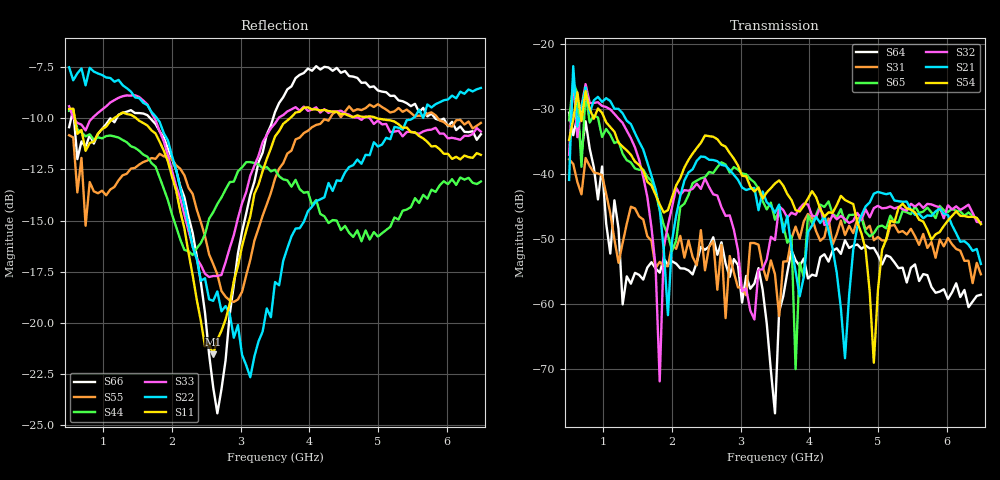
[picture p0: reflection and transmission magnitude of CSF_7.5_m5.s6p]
!Keysight Technologies,M9804A,MY58100912,A.14.10.03
!Date: Thursday, April 27, 2023 10:28:33
!Correction: S11(C  6-Port  )
!S12(C  6-Port  )
!S13(C  6-Port  )
!S14(C  6-Port  )
!S15(C  6-Port  )
!S16(C  6-Port  )
!S21(C  6-Port  )
!S22(C  6-Port  )
!S23(C  6-Port  )
!S24(C  6-Port  )
!S25(C  6-Port  )
!S26(C  6-Port  )
!S31(C  6-Port  )
!S32(C  6-Port  )
!S33(C  6-Port  )
!S34(C  6-Port  )
!S35(C  6-Port  )
!S36(C  6-Port  )
!S41(C  6-Port  )
!S42(C  6-Port  )
!S43(C  6-Port  )
!S44(C  6-Port  )
!S45(C  6-Port  )
!S46(C  6-Port  )
!S51(C  6-Port  )
!S52(C  6-Port  )
!S53(C  6-Port  )
!S54(C  6-Port  )
!S55(C  6-Port  )
!S56(C  6-Port  )
!S61(C  6-Port  )
!S62(C  6-Port  )
!S63(C  6-Port  )
!S64(C  6-Port  )
!S65(C  6-Port  )
!S66(C  6-Port  )
!S6P File: Measurement: :
# Hz S  RI  R 50
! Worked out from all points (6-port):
!   101 points, 500 MHz to 6.5 GHz, reference 50 ohm
!   strongest paths, dB at 500 MHz, 2 GHz, 3.5 GHz, 5 GHz, 6.5 GHz:
!     S54: -34.7, -43.6, -41.4, -57.8, -47.7
!     S21: -40.9, -50.2, -45.9, -42.7, -53.8
!     S32: -37.0, -45.0, -50.1, -44.9, -47.4
!     S65: -31.7, -51.8, -47.0, -48.1, -47.6
!     S31: -37.7, -50.9, -55.4, -49.6, -55.4
!     S64: -30.5, -53.4, -76.8, -52.4, -58.5
!   lowest |S11| = -21.5 dB at 2.6 GHz (marker M1), VSWR 1.18, Z = 42.5 + j1.94 ohm
!   |S11| at or under -10 dB: 582.8 MHz to 1.153 GHz (570.5 MHz wide, 65.7 % of centre); 1.478 GHz to 3.718 GHz (2.241 GHz wide, 86.2 % of centre); 4.986 GHz to end of sweep
